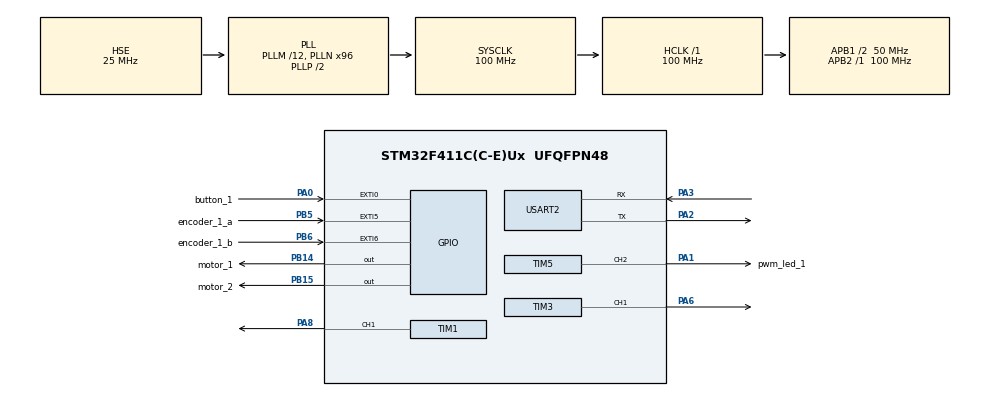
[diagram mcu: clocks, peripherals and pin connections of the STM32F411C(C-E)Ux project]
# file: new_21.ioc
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FREERTOS.Queues01=q_read_to_uart,16,uint16_t,0,Dynamic,NULL,NULL;q_uart_to_operate,16,uint16_t,0,Dynamic,NULL,NULL;q_operate_to_read,16,uint16_t,0,Dynamic,NULL,NULL
FREERTOS.Tasks01=t_read,32,128,start_t_read,Default,NULL,Dynamic,NULL,NULL;t_uart,24,128,start_t_uart,Default,NULL,Dynamic,NULL,NULL;t_operate,24,128,start_t_operate,Default,NULL,Dynamic,NULL,NULL
Mcu.Family=STM32F4
Mcu.Name=STM32F411C(C-E)Ux
Mcu.Package=UFQFPN48
NVIC.EXTI0_IRQn=true\:5\:0\:false\:false\:true\:true\:true\:true\:true
NVIC.EXTI9_5_IRQn=true\:5\:0\:false\:false\:true\:true\:true\:true\:true
NVIC.PriorityGroup=NVIC_PRIORITYGROUP_4
NVIC.RCC_IRQn=true\:5\:0\:false\:false\:true\:true\:true\:false\:true
NVIC.TIM1_UP_TIM10_IRQn=true\:5\:0\:false\:false\:true\:false\:false\:true\:true
NVIC.TIM5_IRQn=true\:6\:0\:true\:false\:true\:true\:true\:true\:true
NVIC.TimeBase=TIM1_UP_TIM10_IRQn
NVIC.TimeBaseIP=TIM10
NVIC.USART2_IRQn=true\:5\:0\:false\:false\:true\:true\:true\:true\:true
PA0-WKUP.GPIO_Label=button_1
PA0-WKUP.GPIO_ModeDefaultEXTI=GPIO_MODE_IT_RISING_FALLING
PA0-WKUP.Signal=GPXTI0
PA1.GPIO_Label=pwm_led_1
PA1.GPIO_Speed=GPIO_SPEED_FREQ_VERY_HIGH
PA1.Signal=S_TIM5_CH2
PA13.Mode=Serial_Wire
PA13.Signal=SYS_JTMS-SWDIO
PA14.Mode=Serial_Wire
PA14.Signal=SYS_JTCK-SWCLK
PA2.Mode=Asynchronous
PA2.Signal=USART2_TX
PA3.Mode=Asynchronous
PA3.Signal=USART2_RX
PA6.GPIO_Speed=GPIO_SPEED_FREQ_VERY_HIGH
PA6.Signal=S_TIM3_CH1
PA8.GPIO_Speed=GPIO_SPEED_FREQ_VERY_HIGH
PA8.Signal=S_TIM1_CH1
PB14.GPIO_Label=motor_1
PB14.GPIO_Speed=GPIO_SPEED_FREQ_VERY_HIGH
PB14.Signal=GPIO_Output
PB15.GPIO_Label=motor_2
PB15.GPIO_Speed=GPIO_SPEED_FREQ_VERY_HIGH
PB15.PinState=GPIO_PIN_SET
PB15.Signal=GPIO_Output
PB5.GPIO_Label=encoder_1_a
PB5.GPIO_ModeDefaultEXTI=GPIO_MODE_IT_FALLING
PB5.Signal=GPXTI5
PB6.GPIO_Label=encoder_1_b
PB6.GPIO_ModeDefaultEXTI=GPIO_MODE_IT_FALLING
PB6.Signal=GPXTI6
PH0\ -\ OSC_IN.Mode=HSE-External-Oscillator
PH0\ -\ OSC_IN.Signal=RCC_OSC_IN
PH1\ -\ OSC_OUT.Mode=HSE-External-Oscillator
PH1\ -\ OSC_OUT.Signal=RCC_OSC_OUT
ProjectManager.HeapSize=0x200
ProjectManager.StackSize=0x400
ProjectManager.TargetToolchain=STM32CubeIDE
RCC.48MHZClocksFreq_Value=50000000
RCC.AHBFreq_Value=100000000
RCC.APB1CLKDivider=RCC_HCLK_DIV2
RCC.APB1Freq_Value=50000000
RCC.APB1TimFreq_Value=100000000
RCC.APB2Freq_Value=100000000
RCC.APB2TimFreq_Value=100000000
RCC.CortexFreq_Value=100000000
RCC.HCLKFreq_Value=100000000
RCC.HSE_VALUE=25000000
RCC.HSI_VALUE=16000000
RCC.LSE_VALUE=32768
RCC.PLLM=12
RCC.PLLN=96
RCC.PLLSourceVirtual=RCC_PLLSOURCE_HSE
RCC.SYSCLKFreq_VALUE=100000000
RCC.SYSCLKSource=RCC_SYSCLKSOURCE_PLLCLK
RCC.VCOOutputFreq_Value=200000000
SH.S_TIM1_CH1.0=TIM1_CH1,PWM Generation1 CH1
SH.S_TIM3_CH1.0=TIM3_CH1,PWM Generation1 CH1
SH.S_TIM5_CH2.0=TIM5_CH2,PWM Generation2 CH2
TIM1.Channel-PWM\ Generation1\ CH1=TIM_CHANNEL_1
TIM1.OCMode_PWM-PWM\ Generation1\ CH1=TIM_OCMODE_PWM1
TIM1.Period=120
TIM1.Prescaler=1999
TIM3.Channel-PWM\ Generation1\ CH1=TIM_CHANNEL_1
TIM3.Period=200
TIM3.Prescaler=9999
TIM3.Pulse-PWM\ Generation1\ CH1=5
TIM5.Channel-PWM\ Generation2\ CH2=TIM_CHANNEL_2
TIM5.OCMode_PWM-PWM\ Generation2\ CH2=TIM_OCMODE_PWM2
TIM5.Period=120
TIM5.Prescaler=9999
TIM5.Pulse-PWM\ Generation2\ CH2=0
USART2.VirtualMode=VM_ASYNC
VP_FREERTOS_VS_CMSIS_V2.Mode=CMSIS_V2
VP_SYS_VS_tim10.Mode=TIM10
board=custom

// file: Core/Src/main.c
/* USER CODE BEGIN Header */
/**
  ******************************************************************************
  * @file           : main.c
  * @brief          : Main program body
  ******************************************************************************
  * @attention
  *
  * Copyright (c) 2024 STMicroelectronics.
  * All rights reserved.
  *
  * This software is licensed under terms that can be found in the LICENSE file
  * in the root directory of this software component.
  * If no LICENSE file comes with this software, it is provided AS-IS.
  *
  ******************************************************************************
  */
/* USER CODE END Header */
#include "main.h"
#include "cmsis_os.h"
#include "tim.h"
#include "usart.h"
#include "gpio.h"

void SystemClock_Config(void);
void MX_FREERTOS_Init(void);

int main(void)
{

  /* MCU Configuration--------------------------------------------------------*/

  /* Reset of all peripherals, Initializes the Flash interface and the Systick. */
  HAL_Init();

  /* Configure the system clock */
  SystemClock_Config();

  /* Initialize all configured peripherals */
  MX_GPIO_Init();
  MX_TIM1_Init();
  MX_TIM3_Init();
  MX_TIM5_Init();
  MX_USART2_UART_Init();

  /* Init scheduler */
  osKernelInitialize();

  /* Call init function for freertos objects (in cmsis_os2.c) */
  MX_FREERTOS_Init();

  /* Start scheduler */
  osKernelStart();

  /* We should never get here as control is now taken by the scheduler */

  /* Infinite loop */
  while (1)
  {

  }
}

void SystemClock_Config(void)
{
  RCC_OscInitTypeDef RCC_OscInitStruct = {0};
  RCC_ClkInitTypeDef RCC_ClkInitStruct = {0};

  /** Configure the main internal regulator output voltage
  */
  __HAL_RCC_PWR_CLK_ENABLE();
  __HAL_PWR_VOLTAGESCALING_CONFIG(PWR_REGULATOR_VOLTAGE_SCALE1);

  /** Initializes the RCC Oscillators according to the specified parameters
  * in the RCC_OscInitTypeDef structure.
  */
  RCC_OscInitStruct.OscillatorType = RCC_OSCILLATORTYPE_HSE;
  RCC_OscInitStruct.HSEState = RCC_HSE_ON;
  RCC_OscInitStruct.PLL.PLLState = RCC_PLL_ON;
  RCC_OscInitStruct.PLL.PLLSource = RCC_PLLSOURCE_HSE;
  RCC_OscInitStruct.PLL.PLLM = 12;
  RCC_OscInitStruct.PLL.PLLN = 96;
  RCC_OscInitStruct.PLL.PLLP = RCC_PLLP_DIV2;
  RCC_OscInitStruct.PLL.PLLQ = 4;
  if (HAL_RCC_OscConfig(&RCC_OscInitStruct) != HAL_OK)
  {
    Error_Handler();
  }

  /** Initializes the CPU, AHB and APB buses clocks
  */
  RCC_ClkInitStruct.ClockType = RCC_CLOCKTYPE_HCLK|RCC_CLOCKTYPE_SYSCLK
                              |RCC_CLOCKTYPE_PCLK1|RCC_CLOCKTYPE_PCLK2;
  RCC_ClkInitStruct.SYSCLKSource = RCC_SYSCLKSOURCE_PLLCLK;
  RCC_ClkInitStruct.AHBCLKDivider = RCC_SYSCLK_DIV1;
  RCC_ClkInitStruct.APB1CLKDivider = RCC_HCLK_DIV2;
  RCC_ClkInitStruct.APB2CLKDivider = RCC_HCLK_DIV1;

  if (HAL_RCC_ClockConfig(&RCC_ClkInitStruct, FLASH_LATENCY_3) != HAL_OK)
  {
    Error_Handler();
  }
}

void HAL_TIM_PeriodElapsedCallback(TIM_HandleTypeDef *htim)
{
  if (htim->Instance == TIM10) {
    HAL_IncTick();
  }
}

void Error_Handler(void)
{
  __disable_irq();
  while (1)
  {
  }
}

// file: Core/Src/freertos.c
/* USER CODE BEGIN Header */
/**
  ******************************************************************************
  * File Name          : freertos.c
  * Description        : Code for freertos applications
  ******************************************************************************
  * @attention
  *
  * Copyright (c) 2024 STMicroelectronics.
  * All rights reserved.
  *
  * This software is licensed under terms that can be found in the LICENSE file
  * in the root directory of this software component.
  * If no LICENSE file comes with this software, it is provided AS-IS.
  *
  ******************************************************************************
  */
/* USER CODE END Header */

#include "self.h"

/* USER CODE BEGIN Variables */
extern uint32_t button_charge;
/* USER CODE END Variables */
/* Definitions for t_read */
osThreadId_t t_readHandle;
const osThreadAttr_t t_read_attributes = {
  .name = "t_read",
  .stack_size = 128 * 4,
  .priority = (osPriority_t) osPriorityAboveNormal,
};
/* Definitions for t_uart */
osThreadId_t t_uartHandle;
const osThreadAttr_t t_uart_attributes = {
  .name = "t_uart",
  .stack_size = 128 * 4,
  .priority = (osPriority_t) osPriorityNormal,
};
/* Definitions for t_operate */
osThreadId_t t_operateHandle;
const osThreadAttr_t t_operate_attributes = {
  .name = "t_operate",
  .stack_size = 128 * 4,
  .priority = (osPriority_t) osPriorityNormal,
};
/* Definitions for q_read_to_uart */
osMessageQueueId_t q_read_to_uartHandle;
const osMessageQueueAttr_t q_read_to_uart_attributes = {
  .name = "q_read_to_uart"
};
/* Definitions for q_uart_to_operate */
osMessageQueueId_t q_uart_to_operateHandle;
const osMessageQueueAttr_t q_uart_to_operate_attributes = {
  .name = "q_uart_to_operate"
};
/* Definitions for q_operate_to_read */
osMessageQueueId_t q_operate_to_readHandle;
const osMessageQueueAttr_t q_operate_to_read_attributes = {
  .name = "q_operate_to_read"
};

void start_t_read(void *argument);
void start_t_uart(void *argument);
void start_t_operate(void *argument);

void MX_FREERTOS_Init(void); /* (MISRA C 2004 rule 8.1) */

void MX_FREERTOS_Init(void) {

  /* Create the queue(s) */
  /* creation of q_read_to_uart */
  q_read_to_uartHandle = osMessageQueueNew (16, sizeof(uint16_t), &q_read_to_uart_attributes);

  /* creation of q_uart_to_operate */
  q_uart_to_operateHandle = osMessageQueueNew (16, sizeof(uint16_t), &q_uart_to_operate_attributes);

  /* creation of q_operate_to_read */
  q_operate_to_readHandle = osMessageQueueNew (16, sizeof(uint16_t), &q_operate_to_read_attributes);

  /* Create the thread(s) */
  /* creation of t_read */
  t_readHandle = osThreadNew(start_t_read, NULL, &t_read_attributes);

  /* creation of t_uart */
  t_uartHandle = osThreadNew(start_t_uart, NULL, &t_uart_attributes);

  /* creation of t_operate */
  t_operateHandle = osThreadNew(start_t_operate, NULL, &t_operate_attributes);

}

void start_t_read(void *argument)
{
  /* USER CODE BEGIN start_t_read */
  uint32_t notifi_value = 0;
  int16_t control_value = 0, send_value = 0;
  _Bool if_first_read = 1;
  /* Infinite loop */
  for(;;)
  {
    if (if_first_read || (xQueueReceive(q_operate_to_readHandle, &if_first_read, portMAX_DELAY) == pdTRUE))
    {
      xTaskNotifyWait(0, 0xFFFFFFFF, &notifi_value, portMAX_DELAY);

      if (notifi_value & button_flag)
      {
        if (button_charge <= pdMS_TO_TICKS(200))
        {
          control_value += stride;

          if (control_value > 100)
          {
            control_value = -100;
          }else if (control_value < -100)
          {
            control_value = 100;
          }
        }else
        {
          control_value += button_charge / 200 * stride;
          if (control_value > 100)
          {
            control_value = 100;
          }
        }
      }

      if (notifi_value & encoder_a_flag)
      {
        if (control_value < 100)
        {
          //HAL_UART_Transmit_IT(&huart2, (uint8_t *)"received a\r\n\0", 12);
          control_value += stride;
        }
      }

      if (notifi_value & encoder_b_flag)
      {
        //HAL_UART_Transmit_IT(&huart2, (uint8_t *)"received b\r\n\0", 12);
        if (control_value > -100)
        {
          control_value -= stride;
        }
      }

      send_value = (uint8_t) control_value;
      xQueueSendToBack(q_read_to_uartHandle, &send_value, pdMS_TO_TICKS(30));
      if_first_read = 0;
    }
  }
  /* USER CODE END start_t_read */
}

void start_t_uart(void *argument)
{
  /* USER CODE BEGIN start_t_uart */
  int8_t uart_buffer = 0;
  char on_screen[50];
  HAL_UART_Transmit_IT(&huart2, (uint8_t *)"Notice: End Your Command With '$'\r\nstart\r\n", 44);
  /* Infinite loop */
  for(;;)
  {
    if (xQueueReceive(q_read_to_uartHandle, &uart_buffer, portMAX_DELAY) == pdTRUE)
    {
      sprintf(on_screen, "send to operate: %d\r\n", uart_buffer);
      HAL_UART_Transmit_IT(&huart2, (uint8_t *)on_screen, strlen(on_screen));
      uart_buffer /= 25;
      xQueueSendToBack(q_uart_to_operateHandle, &uart_buffer, pdMS_TO_TICKS(30));
    }
  }
  /* USER CODE END start_t_uart */
}

void start_t_operate(void *argument)
{
  /* USER CODE BEGIN start_t_operate */
  int8_t operate_buffer = 0, if_buffer_not_positive = 0, operate_led_motor = 0, operate_steer = 0;
  _Bool if_not_first_read = 0;

  HAL_TIM_Base_Start_IT(&htim5);
  HAL_TIM_PWM_Start_IT(&htim5, TIM_CHANNEL_2);
  HAL_TIM_Base_Start_IT(&htim3);
  HAL_TIM_PWM_Start_IT(&htim3, TIM_CHANNEL_1);
  HAL_TIM_Base_Start_IT(&htim1);
  HAL_TIM_PWM_Start_IT(&htim1, TIM_CHANNEL_1);

  /* Infinite loop */
  for(;;)
  {
    if (xQueueReceive(q_uart_to_operateHandle, &operate_buffer, portMAX_DELAY) == pdTRUE)
    {
      if_buffer_not_positive = (operate_buffer < 0) ? (-1) : (1);
      operate_steer = (operate_buffer * if_buffer_not_positive + 1) * 5;
      operate_led_motor = operate_buffer * 30 * if_buffer_not_positive;

      if (if_buffer_not_positive == 1)
      {
        HAL_GPIO_WritePin(motor_1_GPIO_Port, motor_1_Pin, GPIO_PIN_RESET);
        HAL_GPIO_WritePin(motor_2_GPIO_Port, motor_2_Pin, GPIO_PIN_SET);
      }else
      {
        HAL_GPIO_WritePin(motor_1_GPIO_Port, motor_1_Pin, GPIO_PIN_SET);
        HAL_GPIO_WritePin(motor_2_GPIO_Port, motor_2_Pin, GPIO_PIN_RESET);
      }

      __HAL_TIM_SET_COMPARE(&htim5, TIM_CHANNEL_2, operate_led_motor);
      __HAL_TIM_SET_COMPARE(&htim3, TIM_CHANNEL_1, operate_steer);
      __HAL_TIM_SET_COMPARE(&htim1, TIM_CHANNEL_1, operate_led_motor);
      xQueueSendToBack(q_operate_to_readHandle, &if_not_first_read, pdMS_TO_TICKS(30));
    }
  }
  /* USER CODE END start_t_operate */
}
